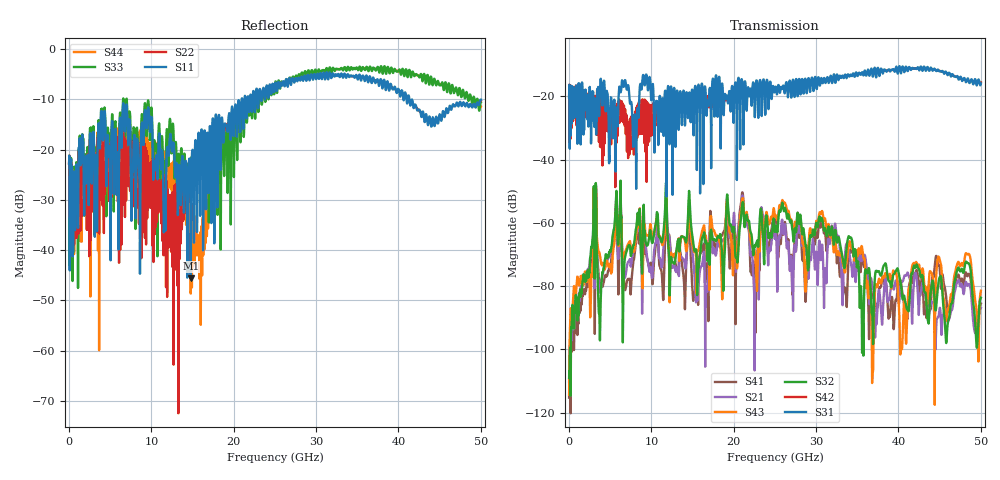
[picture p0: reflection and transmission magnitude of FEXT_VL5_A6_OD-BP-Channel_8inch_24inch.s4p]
#	Hz	S	RI	R	50
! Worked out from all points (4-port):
!   2500 points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, 20 MHz to 50 GHz, reference 50 ohm
!   strongest paths, dB at 20 MHz, 12.52 GHz, 25.02 GHz, 37.52 GHz, 50 GHz:
!     S31: -20.3, -23.0, -17.3, -11.0, -15.9
!     S42: -20.3, -21.5, -17.8, -12.1, -15.6
!     S32: -109.1, -72.2, -62.7, -75.3, -83.7
!     S43: -114.4, -70.4, -58.1, -79.2, -81.4
!     S21: -110.2, -74.1, -64.8, -83.7, -86.9
!     S41: -115.3, -70.7, -59.7, -85.2, -85.5
!   lowest |S11| = -45.6 dB at 14.78 GHz (marker M1), VSWR 1.01, Z = 49.9 - j0.522 ohm
!   |S11| at or under -10 dB: start of sweep to 20.96 GHz; 21.03 GHz to 21.31 GHz (275.5 MHz wide, 1.3 % of centre); 41.33 GHz to end of sweep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
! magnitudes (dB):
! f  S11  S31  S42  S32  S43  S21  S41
! 20 MHz  -22.8  -20.3  -20.3  -109.1  -114.4  -110.2  -115.3
! 14.78 GHz  -45.6  -28.1  -20.2  -59.6  -63.1  -62.7  -70.4
! 16.72 GHz  -19.4  -25.6  -23.2  -67.5  -67.5  -81.4  -73.3
! 20.98 GHz  -9.9  -14.6  -19.9  -55.2  -53.2  -52.3  -51.1
! 22.6 GHz  -12.1  -23.2  -18.8  -67.2  -70.6  -81.5  -83.4
! 27.02 GHz  -6.5  -19.4  -17.0  -59.8  -59.2  -72.5  -71.1
! 50 GHz  -10.1  -15.9  -15.6  -83.7  -81.4  -86.9  -85.5
